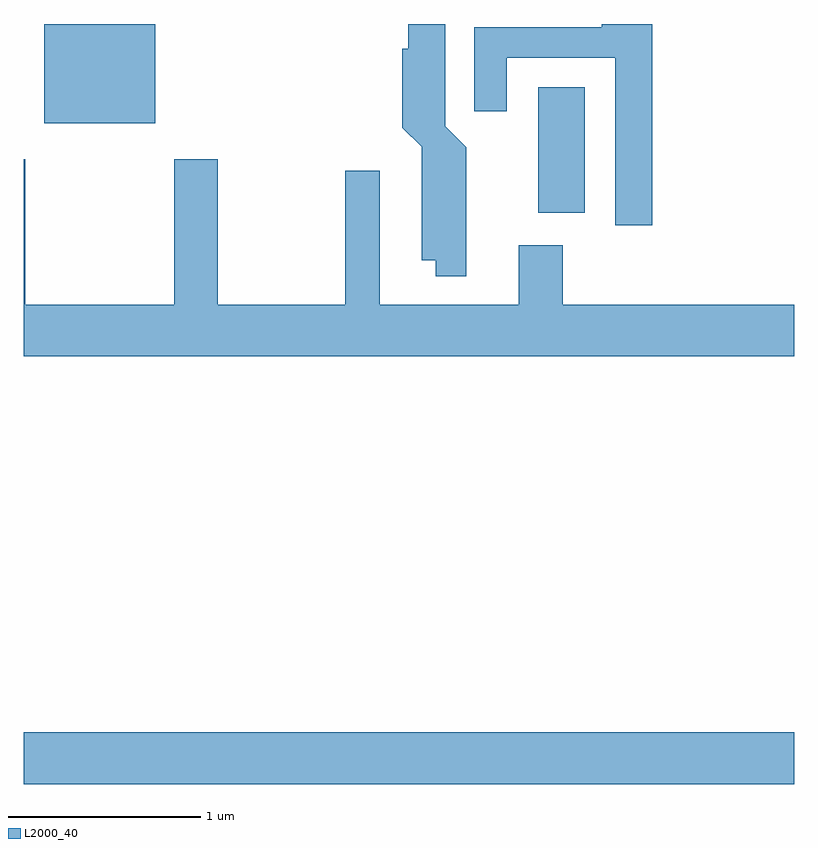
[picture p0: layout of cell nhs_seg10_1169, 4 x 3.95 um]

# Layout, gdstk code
import gdstk
lib = gdstk.Library(unit=1e-6, precision=1e-09)
def R(c, l, rs):  # rectangles x0, y0, x1, y1
    for r in rs: c.add(gdstk.rectangle(r[:2], r[2:], *l))
def P(c, l, *ps):  # polygons
    for p in ps: c.add(gdstk.Polygon(p, *l))
L2000_40 = (2000, 40)

nhs_seg10_1169 = lib.new_cell('nhs_seg10_1169')
R(nhs_seg10_1169, L2000_40, [(219.611,2120.576,223.611,2120.844), (222.281,2123.541,222.524,2124.194), (219.716,2124.006,220.294,2124.522)])
P(nhs_seg10_1169, L2000_40, [(222.874,2124.522),(222.611,2124.522),(222.611,2124.504),(221.951,2124.504),(221.951,2124.068),(222.119,2124.068),(222.119,2124.346),(222.681,2124.346),(222.681,2123.476),(222.874,2123.476)],
  [(221.909,2123.882),(221.799,2123.992),(221.799,2124.522),(221.606,2124.522),(221.606,2124.394),(221.576,2124.394),(221.576,2123.984),(221.676,2123.884),(221.676,2123.296),(221.751,2123.296),(221.751,2123.213),(221.909,2123.213)],
  [(223.611,2123.064),(222.409,2123.064),(222.409,2123.374),(222.181,2123.374),(222.181,2123.064),(221.459,2123.064),(221.459,2123.759),(221.281,2123.759),(221.281,2123.064),(220.619,2123.064),(220.619,2123.819),(220.391,2123.819),(220.391,2123.064),(219.619,2123.064),(219.619,2123.819),(219.611,2123.819),(219.611,2122.796),(223.611,2122.796)])

lib.write_gds('nhs_seg10_1169.gds')
